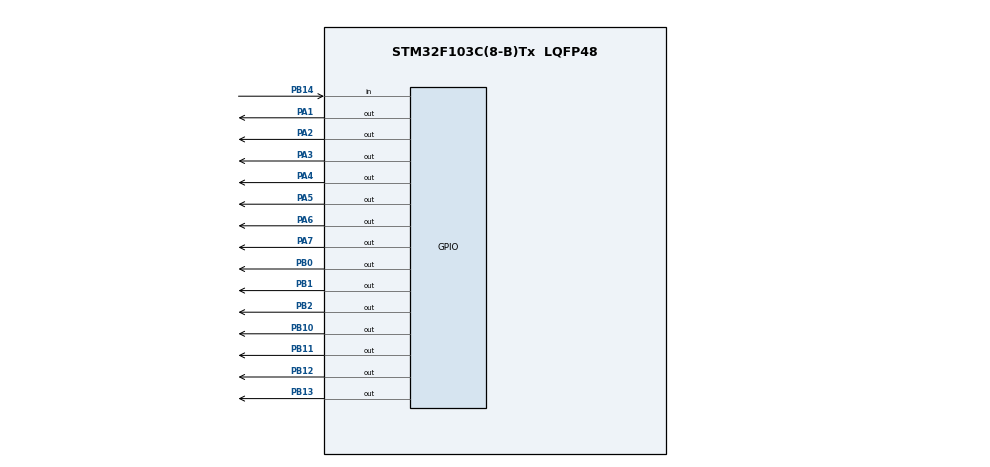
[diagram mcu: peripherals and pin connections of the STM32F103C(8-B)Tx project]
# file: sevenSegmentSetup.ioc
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Mcu.Family=STM32F1
Mcu.Name=STM32F103C(8-B)Tx
Mcu.Package=LQFP48
NVIC.PriorityGroup=NVIC_PRIORITYGROUP_4
PA1.Signal=GPIO_Output
PA2.Signal=GPIO_Output
PA3.Signal=GPIO_Output
PA4.Signal=GPIO_Output
PA5.Signal=GPIO_Output
PA6.Signal=GPIO_Output
PA7.Signal=GPIO_Output
PB0.Signal=GPIO_Output
PB1.Signal=GPIO_Output
PB10.Signal=GPIO_Output
PB11.Signal=GPIO_Output
PB12.Signal=GPIO_Output
PB13.Signal=GPIO_Output
PB14.Signal=GPIO_Input
PB2.Signal=GPIO_Output
ProjectManager.HeapSize=0x200
ProjectManager.StackSize=0x400
ProjectManager.TargetToolchain=STM32CubeIDE
RCC.APB1Freq_Value=8000000
RCC.APB2Freq_Value=8000000
board=custom

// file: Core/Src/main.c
/* USER CODE BEGIN Header */
/**
 ******************************************************************************
 * @file           : main.c
 * @brief          : Main program body
 ******************************************************************************
 * @attention
 *
 * Copyright (c) 2024 STMicroelectronics.
 * All rights reserved.
 *
 * This software is licensed under terms that can be found in the LICENSE file
 * in the root directory of this software component.
 * If no LICENSE file comes with this software, it is provided AS-IS.
 *
 ******************************************************************************
 */
/* USER CODE END Header */
#include "main.h"

void SystemClock_Config(void);
static void MX_GPIO_Init(void);

int main(void)
{

  /* MCU Configuration--------------------------------------------------------*/

  /* Reset of all peripherals, Initializes the Flash interface and the Systick. */
  HAL_Init();

  /* USER CODE BEGIN Init */
	int num = 0;
  /* USER CODE END Init */

  /* Configure the system clock */
  SystemClock_Config();

  /* Initialize all configured peripherals */
  MX_GPIO_Init();

  /* Infinite loop */
  /* USER CODE BEGIN WHILE */
	while (1) {
		HAL_Delay(1000);
		num++;
		switch (num) {
		case 1:
			MX_GPIO_Init();
			HAL_GPIO_WritePin(GPIOA, GPIO_PIN_2, 1);
			HAL_GPIO_WritePin(GPIOA, GPIO_PIN_3, 1);
			break;
		case 2:
			MX_GPIO_Init();
			HAL_GPIO_WritePin(GPIOA, GPIO_PIN_1, 1);
			HAL_GPIO_WritePin(GPIOA, GPIO_PIN_2, 1);
			HAL_GPIO_WritePin(GPIOA, GPIO_PIN_7, 1);
			HAL_GPIO_WritePin(GPIOA, GPIO_PIN_5, 1);
			HAL_GPIO_WritePin(GPIOA, GPIO_PIN_4, 1);
			break;
		case 3:
			MX_GPIO_Init();
			HAL_GPIO_WritePin(GPIOA, GPIO_PIN_1, 1);
			HAL_GPIO_WritePin(GPIOA, GPIO_PIN_2, 1);
			HAL_GPIO_WritePin(GPIOA, GPIO_PIN_7, 1);
			HAL_GPIO_WritePin(GPIOA, GPIO_PIN_3, 1);
			HAL_GPIO_WritePin(GPIOA, GPIO_PIN_4, 1);
			break;
		case 4:
			MX_GPIO_Init();
			HAL_GPIO_WritePin(GPIOA, GPIO_PIN_6, 1);
			HAL_GPIO_WritePin(GPIOA, GPIO_PIN_7, 1);
			HAL_GPIO_WritePin(GPIOA, GPIO_PIN_2, 1);
			HAL_GPIO_WritePin(GPIOA, GPIO_PIN_3, 1);
			break;
		case 5:
			MX_GPIO_Init();
			HAL_GPIO_WritePin(GPIOA, GPIO_PIN_1, 1);
			HAL_GPIO_WritePin(GPIOA, GPIO_PIN_6, 1);
			HAL_GPIO_WritePin(GPIOA, GPIO_PIN_7, 1);
			HAL_GPIO_WritePin(GPIOA, GPIO_PIN_3, 1);
			HAL_GPIO_WritePin(GPIOA, GPIO_PIN_4, 1);
			break;
		case 6:
			MX_GPIO_Init();
			HAL_GPIO_WritePin(GPIOA, GPIO_PIN_1, 1);
			HAL_GPIO_WritePin(GPIOA, GPIO_PIN_6, 1);
			HAL_GPIO_WritePin(GPIOA, GPIO_PIN_7, 1);
			HAL_GPIO_WritePin(GPIOA, GPIO_PIN_5, 1);
			HAL_GPIO_WritePin(GPIOA, GPIO_PIN_4, 1);
			HAL_GPIO_WritePin(GPIOA, GPIO_PIN_3, 1);
			break;
		case 7:
			MX_GPIO_Init();
			HAL_GPIO_WritePin(GPIOA, GPIO_PIN_1, 1);
			HAL_GPIO_WritePin(GPIOA, GPIO_PIN_2, 1);
			HAL_GPIO_WritePin(GPIOA, GPIO_PIN_3, 1);
			break;
		case 8:
			MX_GPIO_Init();
			HAL_GPIO_WritePin(GPIOA, GPIO_PIN_1, 1);
			HAL_GPIO_WritePin(GPIOA, GPIO_PIN_2, 1);
			HAL_GPIO_WritePin(GPIOA, GPIO_PIN_3, 1);
			HAL_GPIO_WritePin(GPIOA, GPIO_PIN_4, 1);
			HAL_GPIO_WritePin(GPIOA, GPIO_PIN_5, 1);
			HAL_GPIO_WritePin(GPIOA, GPIO_PIN_6, 1);
			HAL_GPIO_WritePin(GPIOA, GPIO_PIN_7, 1);
			break;
		case 9:
			MX_GPIO_Init();
			HAL_GPIO_WritePin(GPIOA, GPIO_PIN_1, 1);
			HAL_GPIO_WritePin(GPIOA, GPIO_PIN_2, 1);
			HAL_GPIO_WritePin(GPIOA, GPIO_PIN_6, 1);
			HAL_GPIO_WritePin(GPIOA, GPIO_PIN_7, 1);
			HAL_GPIO_WritePin(GPIOA, GPIO_PIN_3, 1);
			HAL_GPIO_WritePin(GPIOA, GPIO_PIN_4, 1);
			break;
		}
		if (num >= 9) {
			num = 0;
		}

    /* USER CODE END WHILE */

	}
}

void SystemClock_Config(void)
{
  RCC_OscInitTypeDef RCC_OscInitStruct = {0};
  RCC_ClkInitTypeDef RCC_ClkInitStruct = {0};

  /** Initializes the RCC Oscillators according to the specified parameters
  * in the RCC_OscInitTypeDef structure.
  */
  RCC_OscInitStruct.OscillatorType = RCC_OSCILLATORTYPE_HSI;
  RCC_OscInitStruct.HSIState = RCC_HSI_ON;
  RCC_OscInitStruct.HSICalibrationValue = RCC_HSICALIBRATION_DEFAULT;
  RCC_OscInitStruct.PLL.PLLState = RCC_PLL_NONE;
  if (HAL_RCC_OscConfig(&RCC_OscInitStruct) != HAL_OK)
  {
    Error_Handler();
  }

  /** Initializes the CPU, AHB and APB buses clocks
  */
  RCC_ClkInitStruct.ClockType = RCC_CLOCKTYPE_HCLK|RCC_CLOCKTYPE_SYSCLK
                              |RCC_CLOCKTYPE_PCLK1|RCC_CLOCKTYPE_PCLK2;
  RCC_ClkInitStruct.SYSCLKSource = RCC_SYSCLKSOURCE_HSI;
  RCC_ClkInitStruct.AHBCLKDivider = RCC_SYSCLK_DIV1;
  RCC_ClkInitStruct.APB1CLKDivider = RCC_HCLK_DIV1;
  RCC_ClkInitStruct.APB2CLKDivider = RCC_HCLK_DIV1;

  if (HAL_RCC_ClockConfig(&RCC_ClkInitStruct, FLASH_LATENCY_0) != HAL_OK)
  {
    Error_Handler();
  }
}

static void MX_GPIO_Init(void)
{
  GPIO_InitTypeDef GPIO_InitStruct = {0};

  /* GPIO Ports Clock Enable */
  __HAL_RCC_GPIOA_CLK_ENABLE();
  __HAL_RCC_GPIOB_CLK_ENABLE();

  /*Configure GPIO pin Output Level */
  HAL_GPIO_WritePin(GPIOA, GPIO_PIN_1|GPIO_PIN_2|GPIO_PIN_3|GPIO_PIN_4
                          |GPIO_PIN_5|GPIO_PIN_6|GPIO_PIN_7, GPIO_PIN_RESET);

  /*Configure GPIO pin Output Level */
  HAL_GPIO_WritePin(GPIOB, GPIO_PIN_0|GPIO_PIN_1|GPIO_PIN_2|GPIO_PIN_10
                          |GPIO_PIN_11|GPIO_PIN_12|GPIO_PIN_13, GPIO_PIN_RESET);

  /*Configure GPIO pins : PA1 PA2 PA3 PA4
                           PA5 PA6 PA7 */
  GPIO_InitStruct.Pin = GPIO_PIN_1|GPIO_PIN_2|GPIO_PIN_3|GPIO_PIN_4
                          |GPIO_PIN_5|GPIO_PIN_6|GPIO_PIN_7;
  GPIO_InitStruct.Mode = GPIO_MODE_OUTPUT_PP;
  GPIO_InitStruct.Pull = GPIO_NOPULL;
  GPIO_InitStruct.Speed = GPIO_SPEED_FREQ_LOW;
  HAL_GPIO_Init(GPIOA, &GPIO_InitStruct);

  /*Configure GPIO pins : PB0 PB1 PB2 PB10
                           PB11 PB12 PB13 */
  GPIO_InitStruct.Pin = GPIO_PIN_0|GPIO_PIN_1|GPIO_PIN_2|GPIO_PIN_10
                          |GPIO_PIN_11|GPIO_PIN_12|GPIO_PIN_13;
  GPIO_InitStruct.Mode = GPIO_MODE_OUTPUT_PP;
  GPIO_InitStruct.Pull = GPIO_NOPULL;
  GPIO_InitStruct.Speed = GPIO_SPEED_FREQ_LOW;
  HAL_GPIO_Init(GPIOB, &GPIO_InitStruct);

  /*Configure GPIO pin : PB14 */
  GPIO_InitStruct.Pin = GPIO_PIN_14;
  GPIO_InitStruct.Mode = GPIO_MODE_INPUT;
  GPIO_InitStruct.Pull = GPIO_NOPULL;
  HAL_GPIO_Init(GPIOB, &GPIO_InitStruct);

}

void Error_Handler(void)
{
	__disable_irq();
	while (1) {
	}
}
